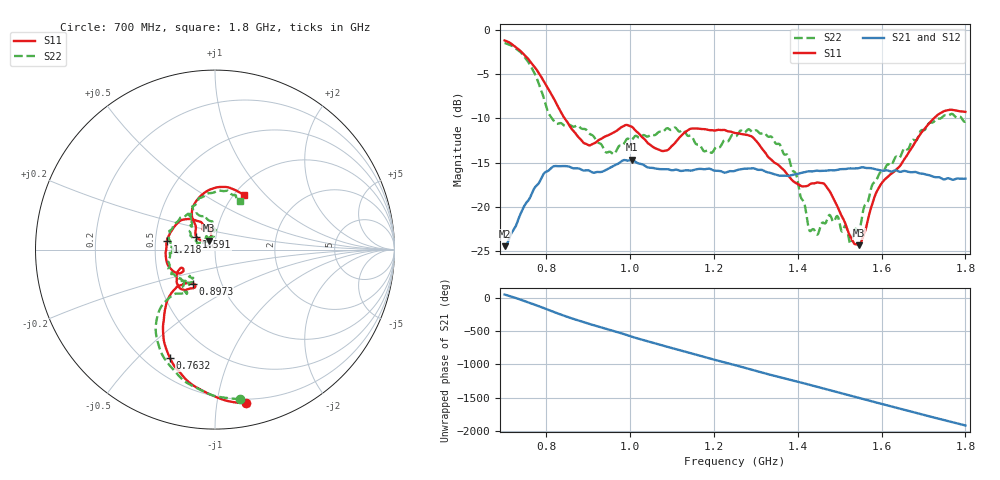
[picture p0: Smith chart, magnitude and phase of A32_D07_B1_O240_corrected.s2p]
! Created with skrf 1.9.0 (http://scikit-rf.org).
# Hz S RI R 50.0
!freq ReS11 ImS11 ReS21 ImS21 ReS12 ImS12 ReS22 ImS22
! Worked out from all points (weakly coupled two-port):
!   1601 points, 700 MHz to 1.8 GHz, reference 50 ohm
!   highest |S21| = -14.67 dB at 1.003 GHz (marker M1); lowest = -24.4 dB at 701.4 MHz (marker M2)
!   lowest |S11| = -24.3 dB at 1.546 GHz (marker M3), VSWR 1.13, Z = 46.5 + j4.7 ohm
!   |S11| at or under -10 dB: 843.6 MHz to 1.724 GHz (880.8 MHz wide, 68.6 % of centre)
!   |S22| runs from -24.2 to -1.5 dB; largest |S21 - S12| = 0.0035
!   S11 on the Smith chart (normalised r, x): 700 MHz: 0.17, -1.21; 763.2 MHz: 0.30, -0.62; 897.3 MHz: 0.73, -0.29; 1.218 GHz: 0.57, +0.06; 1.591 GHz: 0.80, +0.12; 1.8 GHz: 1.11, +0.77
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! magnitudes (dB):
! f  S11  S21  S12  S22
! 700 MHz  -1.2  -24.4  -24.2  -1.5
! 701.4 MHz  -1.2  -24.4  -24.0  -1.5
! 763.2 MHz  -3.7  -18.7  -18.7  -4.2
! 818.2 MHz  -7.8  -15.4  -15.5  -10.3
! 883.6 MHz  -12.5  -15.8  -15.7  -11.1
! 897.3 MHz  -12.9  -15.8  -15.9  -11.4
! 958.5 MHz  -11.6  -15.4  -15.4  -14.0
! 1.003 GHz  -10.9  -14.7  -14.8  -12.4
! 1.067 GHz  -13.5  -15.7  -15.6  -11.5
! 1.218 GHz  -11.3  -16.0  -16.0  -12.9
! 1.25 GHz  -11.6  -15.9  -15.8  -12.0
! 1.357 GHz  -15.4  -16.5  -16.4  -12.9
! 1.395 GHz  -17.3  -16.3  -16.3  -16.2
! 1.434 GHz  -17.3  -16.0  -15.9  -22.6
! 1.468 GHz  -17.7  -15.9  -15.9  -21.7
! 1.494 GHz  -19.9  -15.8  -15.8  -21.0
! 1.526 GHz  -23.3  -15.6  -15.6  -24.2
! 1.546 GHz  -24.3  -15.6  -15.6  -22.7
! 1.591 GHz  -18.0  -15.8  -15.8  -16.6
! 1.617 GHz  -16.5  -15.9  -15.9  -15.2
! 1.731 GHz  -9.7  -16.6  -16.6  -10.1
! 1.8 GHz  -9.3  -16.8  -16.8  -10.3
